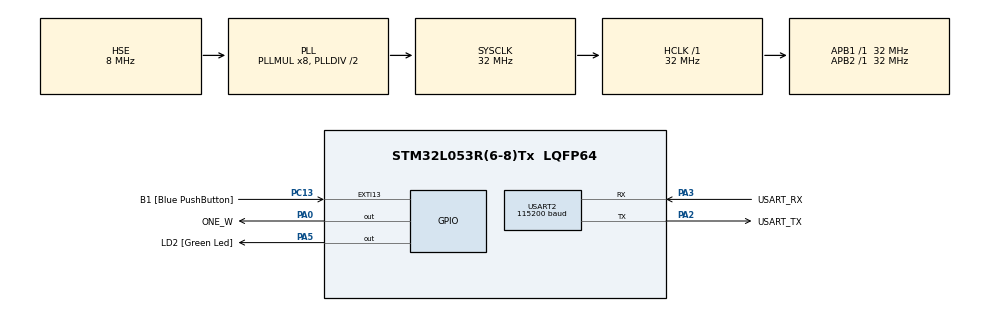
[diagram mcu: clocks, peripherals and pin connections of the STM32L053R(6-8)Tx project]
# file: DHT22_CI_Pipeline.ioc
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Mcu.Family=STM32L0
Mcu.Name=STM32L053R(6-8)Tx
Mcu.Package=LQFP64
NVIC.USART2_IRQn=true\:0\:0\:false\:false\:true\:true\:true\:true
PA0.GPIO_Label=ONE_W
PA0.GPIO_PuPd=GPIO_PULLUP
PA0.GPIO_Speed=GPIO_SPEED_FREQ_VERY_HIGH
PA0.PinState=GPIO_PIN_SET
PA0.Signal=GPIO_Output
PA13.GPIO_Label=TMS
PA13.Mode=Serial_Wire
PA13.Signal=SYS_SWDIO
PA14.GPIO_Label=TCK
PA14.Mode=Serial_Wire
PA14.Signal=SYS_SWCLK
PA2.GPIO_Label=USART_TX
PA2.Mode=Asynchronous
PA2.Signal=USART2_TX
PA3.GPIO_Label=USART_RX
PA3.Mode=Asynchronous
PA3.Signal=USART2_RX
PA5.GPIO_Label=LD2 [Green Led]
PA5.Signal=GPIO_Output
PC13.GPIO_Label=B1 [Blue PushButton]
PC13.GPIO_ModeDefaultEXTI=GPIO_MODE_IT_FALLING
PC13.Signal=GPXTI13
PC14-OSC32_IN.Mode=LSE-External-Oscillator
PC14-OSC32_IN.Signal=RCC_OSC32_IN
PC15-OSC32_OUT.Mode=LSE-External-Oscillator
PC15-OSC32_OUT.Signal=RCC_OSC32_OUT
PH0-OSC_IN.Mode=HSE-External-Clock-Source
PH0-OSC_IN.Signal=RCC_OSC_IN
PH1-OSC_OUT.Signal=RCC_OSC_OUT
ProjectManager.HeapSize=0x200
ProjectManager.StackSize=0x400
ProjectManager.TargetToolchain=STM32CubeIDE
RCC.AHBFreq_Value=32000000
RCC.APB1Freq_Value=32000000
RCC.APB1TimFreq_Value=32000000
RCC.APB2Freq_Value=32000000
RCC.APB2TimFreq_Value=32000000
RCC.FLatency=FLASH_LATENCY_1
RCC.HCLKFreq_Value=32000000
RCC.HSE_VALUE=8000000
RCC.HSI16_VALUE=16000000
RCC.HSI48_VALUE=48000000
RCC.HSI_VALUE=16000000
RCC.MSI_VALUE=2097000
RCC.PLLMUL=RCC_PLLMUL_8
RCC.PLLSourceVirtual=RCC_PLLSOURCE_HSE
RCC.SYSCLKFreq_VALUE=32000000
RCC.SYSCLKSource=RCC_SYSCLKSOURCE_PLLCLK
RCC.VCOOutputFreq_Value=64000000
TIM6.AutoReloadPreload=TIM_AUTORELOAD_PRELOAD_DISABLE
TIM6.CounterMode=TIM_COUNTERMODE_UP
TIM6.Period=65535
TIM6.Prescaler=31
TIM6.TIM_MasterOutputTrigger=TIM_TRGO_RESET
USART2.AutoBaudRateEnableParam=UART_ADVFEATURE_AUTOBAUDRATE_DISABLE
USART2.BaudRate=115200
USART2.DMADisableonRxErrorParam=ADVFEATURE_DMA_ENABLEONRXERROR
USART2.DataInvertParam=ADVFEATURE_DATAINV_DISABLE
USART2.MSBFirstParam=ADVFEATURE_MSBFIRST_DISABLE
USART2.Mode=MODE_TX_RX
USART2.OneBitSampling=UART_ONE_BIT_SAMPLE_DISABLE
USART2.OverSampling=UART_OVERSAMPLING_16
USART2.OverrunDisableParam=ADVFEATURE_OVERRUN_ENABLE
USART2.Parity=PARITY_NONE
USART2.RxPinLevelInvertParam=ADVFEATURE_RXINV_DISABLE
USART2.StopBits=STOPBITS_1
USART2.SwapParam=ADVFEATURE_SWAP_DISABLE
USART2.TxPinLevelInvertParam=ADVFEATURE_TXINV_DISABLE
USART2.VirtualMode-Asynchronous=VM_ASYNC
USART2.WordLength=WORDLENGTH_8B
VP_TIM6_VS_ClockSourceINT.Mode=Enable_Timer
board=custom

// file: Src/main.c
/* USER CODE BEGIN Header */
/**
  ******************************************************************************
  * @file           : main.c
  * @brief          : Main program body
  ******************************************************************************
  * @attention
  *
  * Copyright (c) 2026 STMicroelectronics.
  * All rights reserved.
  *
  * This software is licensed under terms that can be found in the LICENSE file
  * in the root directory of this software component.
  * If no LICENSE file comes with this software, it is provided AS-IS.
  *
  ******************************************************************************
  */
/* USER CODE END Header */
#include "main.h"
#include "tim.h"
#include "usart.h"
#include "gpio.h"

/* USER CODE BEGIN Includes */
#include "console.h"
#include "hal_delay_gpio.h"
#include "debug_uart.h"
#include "dht22.h"
#include "version.h"
/* USER CODE END Includes */

/* USER CODE BEGIN PV */
dht22_t sensor;
const gpio_pin_t DHT22_PIN = {ONE_W_GPIO_Port, ONE_W_Pin};

/* USER CODE END PV */

void SystemClock_Config(void);
/* USER CODE BEGIN PFP */
void get_dht22_values(void)
{
  float temp_f, hum_f;

  // Read values (similar to original get_dht22_values())
  dht22_status_t status = dht22_read_temperature_humidity(&sensor, &temp_f, &hum_f);

  if (status == DHT22_OK) {
    // Use temperature and humidity values
    dbgpln("Temp: %.1f degC, Hum: %.1f%%", temp_f, hum_f);

  } else {
    dbgpln("Error: %s\n", dht22_status_to_string(status));
  }

}
/* USER CODE END PFP */

int main(void)
{

  /* MCU Configuration--------------------------------------------------------*/

  /* Reset of all peripherals, Initializes the Flash interface and the Systick. */
  HAL_Init();

  /* Configure the system clock */
  SystemClock_Config();

  /* Initialize all configured peripherals */
  MX_GPIO_Init();
  MX_TIM6_Init();
  MX_USART2_UART_Init();
  /* USER CODE BEGIN 2 */
  debug_init();
  dbgpln(GREEN "Starting ..." CLRST);
  dbgpln("Firmware version - %s", FIRMWARE_VERSION);
  dht22_init(&sensor, DHT22_PIN);
  HAL_Delay(2000);
  /* USER CODE END 2 */

  /* Infinite loop */
  /* USER CODE BEGIN WHILE */
  while (1)
  {
    get_dht22_values();
    HAL_Delay(2000);
    /* USER CODE END WHILE */

  }
}

void SystemClock_Config(void)
{
  RCC_OscInitTypeDef RCC_OscInitStruct = {0};
  RCC_ClkInitTypeDef RCC_ClkInitStruct = {0};
  RCC_PeriphCLKInitTypeDef PeriphClkInit = {0};

  /** Configure the main internal regulator output voltage
  */
  __HAL_PWR_VOLTAGESCALING_CONFIG(PWR_REGULATOR_VOLTAGE_SCALE1);

  /** Initializes the RCC Oscillators according to the specified parameters
  * in the RCC_OscInitTypeDef structure.
  */
  RCC_OscInitStruct.OscillatorType = RCC_OSCILLATORTYPE_HSE;
  RCC_OscInitStruct.HSEState = RCC_HSE_BYPASS;
  RCC_OscInitStruct.PLL.PLLState = RCC_PLL_ON;
  RCC_OscInitStruct.PLL.PLLSource = RCC_PLLSOURCE_HSE;
  RCC_OscInitStruct.PLL.PLLMUL = RCC_PLLMUL_8;
  RCC_OscInitStruct.PLL.PLLDIV = RCC_PLLDIV_2;
  if (HAL_RCC_OscConfig(&RCC_OscInitStruct) != HAL_OK)
  {
    Error_Handler();
  }

  /** Initializes the CPU, AHB and APB buses clocks
  */
  RCC_ClkInitStruct.ClockType = RCC_CLOCKTYPE_HCLK|RCC_CLOCKTYPE_SYSCLK
                              |RCC_CLOCKTYPE_PCLK1|RCC_CLOCKTYPE_PCLK2;
  RCC_ClkInitStruct.SYSCLKSource = RCC_SYSCLKSOURCE_PLLCLK;
  RCC_ClkInitStruct.AHBCLKDivider = RCC_SYSCLK_DIV1;
  RCC_ClkInitStruct.APB1CLKDivider = RCC_HCLK_DIV1;
  RCC_ClkInitStruct.APB2CLKDivider = RCC_HCLK_DIV1;

  if (HAL_RCC_ClockConfig(&RCC_ClkInitStruct, FLASH_LATENCY_1) != HAL_OK)
  {
    Error_Handler();
  }
  PeriphClkInit.PeriphClockSelection = RCC_PERIPHCLK_USART2;
  PeriphClkInit.Usart2ClockSelection = RCC_USART2CLKSOURCE_PCLK1;
  if (HAL_RCCEx_PeriphCLKConfig(&PeriphClkInit) != HAL_OK)
  {
    Error_Handler();
  }
}

void Error_Handler(void)
{
  __disable_irq();
  while (1)
  {
  }
}
